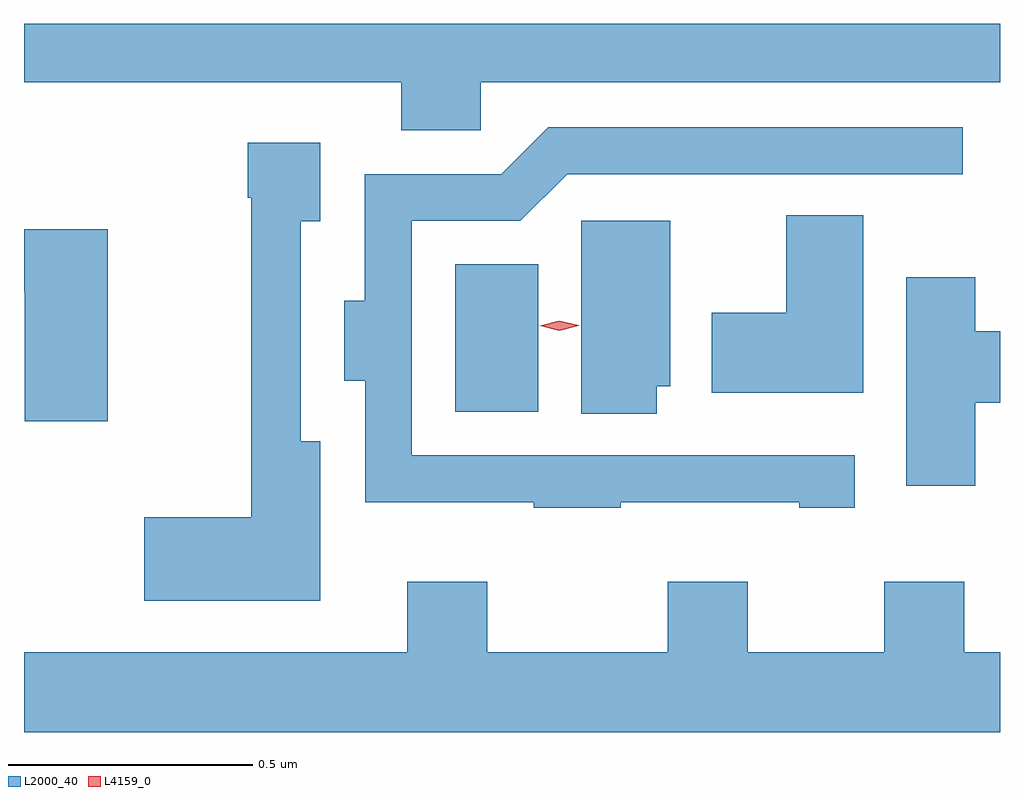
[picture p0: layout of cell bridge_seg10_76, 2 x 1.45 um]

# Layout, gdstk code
import gdstk
lib = gdstk.Library(unit=1e-6, precision=1e-09)
def R(c, l, rs):  # rectangles x0, y0, x1, y1
    for r in rs: c.add(gdstk.rectangle(r[:2], r[2:], *l))
def P(c, l, *ps):  # polygons
    for p in ps: c.add(gdstk.Polygon(p, *l))
L2000_40 = (2000, 40)
L4159_0 = (4159, 0)

bridge_seg10_76 = lib.new_cell('bridge_seg10_76')
R(bridge_seg10_76, L2000_40, [(681.92,1295.645,682.09,1295.947)])
P(bridge_seg10_76, L2000_40, [(681.036,1296.32),(681.809,1296.32),(681.809,1296.222),(681.972,1296.222),(681.972,1296.32),(683.036,1296.32),(683.036,1296.44),(681.036,1296.44)],
  [(682.259,1295.459),(682.625,1295.459),(682.625,1295.448),(682.738,1295.448),(682.738,1295.556),(681.831,1295.556),(681.831,1296.036),(682.053,1296.036),(682.149,1296.132),(682.96,1296.132),(682.96,1296.228),(682.11,1296.228),(682.014,1296.132),(681.734,1296.132),(681.734,1295.872),(681.692,1295.872),(681.692,1295.708),(681.735,1295.708),(681.735,1295.459),(682.081,1295.459),(682.081,1295.448),(682.259,1295.448)],
  [(681.643,1295.584),(681.603,1295.584),(681.603,1296.035),(681.643,1296.035),(681.643,1296.196),(681.495,1296.196),(681.495,1296.083),(681.502,1296.083),(681.502,1295.429),(681.282,1295.429),(681.282,1295.258),(681.643,1295.258)],
  [(682.756,1296.047),(682.598,1296.047),(682.598,1295.848),(682.445,1295.848),(682.445,1295.684),(682.756,1295.684)],
  [(682.333,1295.697),(682.36,1295.697),(682.36,1296.036),(682.178,1296.036),(682.178,1295.641),(682.333,1295.641)],
  [(681.208,1296.019),(681.036,1296.019),(681.036,1295.89),(681.038,1295.89),(681.038,1295.625),(681.208,1295.625)],
  [(682.985,1295.663),(683.036,1295.663),(683.036,1295.81),(682.985,1295.81),(682.985,1295.92),(682.844,1295.92),(682.844,1295.493),(682.985,1295.493)],
  [(683.036,1295.152),(682.963,1295.152),(682.963,1295.296),(682.799,1295.296),(682.799,1295.152),(682.519,1295.152),(682.519,1295.296),(682.355,1295.296),(682.355,1295.152),(681.985,1295.152),(681.985,1295.296),(681.821,1295.296),(681.821,1295.152),(681.036,1295.152),(681.036,1294.988),(683.036,1294.988)])
P(bridge_seg10_76, L4159_0, [(682.133,1295.811),(682.093,1295.821),(682.093,1295.821),(682.093,1295.821),(682.133,1295.831),(682.173,1295.822),(682.173,1295.822),(682.173,1295.821)])

lib.write_gds('bridge_seg10_76.gds')
